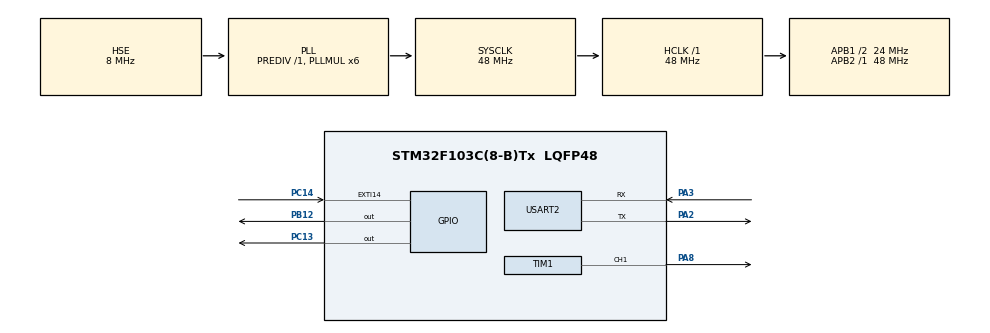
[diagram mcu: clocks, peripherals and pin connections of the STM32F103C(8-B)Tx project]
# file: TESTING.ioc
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Mcu.Family=STM32F1
Mcu.Name=STM32F103C(8-B)Tx
Mcu.Package=LQFP48
NVIC.EXTI15_10_IRQn=true\:0\:0\:false\:false\:true\:true\:true
NVIC.PriorityGroup=NVIC_PRIORITYGROUP_4
NVIC.TIM2_IRQn=true\:0\:0\:false\:false\:true\:true\:true
NVIC.USART2_IRQn=true\:0\:0\:false\:false\:true\:true\:true
PA13.Mode=Serial_Wire
PA13.Signal=SYS_JTMS-SWDIO
PA14.Mode=Serial_Wire
PA14.Signal=SYS_JTCK-SWCLK
PA2.Mode=Asynchronous
PA2.Signal=USART2_TX
PA3.Mode=Asynchronous
PA3.Signal=USART2_RX
PA8.Signal=S_TIM1_CH1
PB12.Signal=GPIO_Output
PC13-TAMPER-RTC.Signal=GPIO_Output
PC14-OSC32_IN.GPIO_ModeDefaultEXTI=GPIO_MODE_IT_FALLING
PC14-OSC32_IN.GPIO_PuPd=GPIO_PULLUP
PC14-OSC32_IN.Signal=GPXTI14
PD0-OSC_IN.Mode=HSE-External-Oscillator
PD0-OSC_IN.Signal=RCC_OSC_IN
PD1-OSC_OUT.Mode=HSE-External-Oscillator
PD1-OSC_OUT.Signal=RCC_OSC_OUT
ProjectManager.HeapSize=0x200
ProjectManager.StackSize=0x400
ProjectManager.TargetToolchain=STM32CubeIDE
RCC.AHBFreq_Value=48000000
RCC.APB1CLKDivider=RCC_HCLK_DIV2
RCC.APB1Freq_Value=24000000
RCC.APB1TimFreq_Value=48000000
RCC.APB2Freq_Value=48000000
RCC.APB2TimFreq_Value=48000000
RCC.HCLKFreq_Value=48000000
RCC.PLLMUL=RCC_PLL_MUL6
RCC.PLLSourceVirtual=RCC_PLLSOURCE_HSE
RCC.SYSCLKFreq_VALUE=48000000
RCC.SYSCLKSource=RCC_SYSCLKSOURCE_PLLCLK
RCC.USBFreq_Value=48000000
SH.S_TIM1_CH1.0=TIM1_CH1,PWM Generation1 CH1
TIM1.AutoReloadPreload=TIM_AUTORELOAD_PRELOAD_ENABLE
TIM1.Channel-PWM\ Generation1\ CH1=TIM_CHANNEL_1
TIM1.Period=99
TIM1.Prescaler=479
TIM2.AutoReloadPreload=TIM_AUTORELOAD_PRELOAD_DISABLE
TIM2.Period=499
TIM2.Prescaler=47999
TIM4.Period=499
TIM4.Prescaler=4799
USART2.VirtualMode=VM_ASYNC
VP_TIM1_VS_ClockSourceINT.Mode=Internal
VP_TIM2_VS_ClockSourceINT.Mode=Internal
VP_TIM4_VS_ClockSourceINT.Mode=Internal
board=custom

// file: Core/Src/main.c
/* USER CODE BEGIN Header */
/**
  ******************************************************************************
  * @file           : main.c
  * @brief          : Main program body
  ******************************************************************************
  * @attention
  *
  * <h2><center>&copy; Copyright (c) 2021 STMicroelectronics.
  * All rights reserved.</center></h2>
  *
  * This software component is licensed by ST under BSD 3-Clause license,
  * the "License"; You may not use this file except in compliance with the
  * License. You may obtain a copy of the License at:
  *                        opensource.org/licenses/BSD-3-Clause
  *
  ******************************************************************************
  */
/* USER CODE END Header */
#include "main.h"
#include "string.h"

/* Private variables ---------------------------------------------oll------------*/
TIM_HandleTypeDef htim1;
TIM_HandleTypeDef htim2;
TIM_HandleTypeDef htim4;

UART_HandleTypeDef huart2;

void SystemClock_Config(void);
static void MX_GPIO_Init(void);
static void MX_TIM2_Init(void);
static void MX_TIM4_Init(void);
static void MX_TIM1_Init(void);
static void MX_USART2_UART_Init(void);

/* USER CODE BEGIN 0 */
//char data[2000];
uint8_t count =0;

/* USER CODE END 0 */

int main(void)
{

  /* MCU Configuration--------------------------------------------------------*/

  /* Reset of all peripherals, Initializes the Flash interface and the Systick. */
  HAL_Init();

  /* Configure the system clock */
  SystemClock_Config();

  /* Initialize all configured peripherals */
  MX_GPIO_Init();
  MX_TIM2_Init();
  MX_TIM4_Init();
  MX_TIM1_Init();
  MX_USART2_UART_Init();
  /* USER CODE BEGIN 2 */
 HAL_TIM_Base_Start_IT(&htim2);
 HAL_TIM_PWM_Start(&htim1, TIM_CHANNEL_1);
 htim1.Instance->CCR1=10;

 char datas[0];
 char data[20]="hello world\n";
 HAL_UART_Receive_IT(&huart2,(uint8_t*)datas, sizeof (datas));
 if (datas[0]=='K'){
	  	  HAL_GPIO_WritePin(GPIOC, GPIO_PIN_13, GPIO_PIN_RESET);
	    }else if(datas[0]=='L'){
	  	   HAL_GPIO_WritePin(GPIOC, GPIO_PIN_13, GPIO_PIN_SET);
	    }
  /* USER CODE END 2 */

  /* Infinite loop */
  /* USER CODE BEGIN WHILE */
  while (1)
  {
	//  HAL_GPIO_WritePin(GPIOC, GPIO_PIN_13, GPIO_PIN_RESET);
	 // HAL_GPIO_TogglePin(GPIOC, GPIO_PIN_13);
	//  HAL_Delay(1000);
    /* USER CODE END WHILE */
	 // HAL_UART_Transmit_IT(&huart2,(uint8_t *)data,sizeof(data) );

  }
}

void SystemClock_Config(void)
{
  RCC_OscInitTypeDef RCC_OscInitStruct = {0};
  RCC_ClkInitTypeDef RCC_ClkInitStruct = {0};

  /** Initializes the RCC Oscillators according to the specified parameters
  * in the RCC_OscInitTypeDef structure.
  */
  RCC_OscInitStruct.OscillatorType = RCC_OSCILLATORTYPE_HSE;
  RCC_OscInitStruct.HSEState = RCC_HSE_ON;
  RCC_OscInitStruct.HSEPredivValue = RCC_HSE_PREDIV_DIV1;
  RCC_OscInitStruct.HSIState = RCC_HSI_ON;
  RCC_OscInitStruct.PLL.PLLState = RCC_PLL_ON;
  RCC_OscInitStruct.PLL.PLLSource = RCC_PLLSOURCE_HSE;
  RCC_OscInitStruct.PLL.PLLMUL = RCC_PLL_MUL6;
  if (HAL_RCC_OscConfig(&RCC_OscInitStruct) != HAL_OK)
  {
    Error_Handler();
  }
  /** Initializes the CPU, AHB and APB buses clocks
  */
  RCC_ClkInitStruct.ClockType = RCC_CLOCKTYPE_HCLK|RCC_CLOCKTYPE_SYSCLK
                              |RCC_CLOCKTYPE_PCLK1|RCC_CLOCKTYPE_PCLK2;
  RCC_ClkInitStruct.SYSCLKSource = RCC_SYSCLKSOURCE_PLLCLK;
  RCC_ClkInitStruct.AHBCLKDivider = RCC_SYSCLK_DIV1;
  RCC_ClkInitStruct.APB1CLKDivider = RCC_HCLK_DIV2;
  RCC_ClkInitStruct.APB2CLKDivider = RCC_HCLK_DIV1;

  if (HAL_RCC_ClockConfig(&RCC_ClkInitStruct, FLASH_LATENCY_1) != HAL_OK)
  {
    Error_Handler();
  }
}

static void MX_TIM1_Init(void)
{

  TIM_ClockConfigTypeDef sClockSourceConfig = {0};
  TIM_MasterConfigTypeDef sMasterConfig = {0};
  TIM_OC_InitTypeDef sConfigOC = {0};
  TIM_BreakDeadTimeConfigTypeDef sBreakDeadTimeConfig = {0};

  htim1.Instance = TIM1;
  htim1.Init.Prescaler = 479;
  htim1.Init.CounterMode = TIM_COUNTERMODE_UP;
  htim1.Init.Period = 99;
  htim1.Init.ClockDivision = TIM_CLOCKDIVISION_DIV1;
  htim1.Init.RepetitionCounter = 0;
  htim1.Init.AutoReloadPreload = TIM_AUTORELOAD_PRELOAD_ENABLE;
  if (HAL_TIM_Base_Init(&htim1) != HAL_OK)
  {
    Error_Handler();
  }
  sClockSourceConfig.ClockSource = TIM_CLOCKSOURCE_INTERNAL;
  if (HAL_TIM_ConfigClockSource(&htim1, &sClockSourceConfig) != HAL_OK)
  {
    Error_Handler();
  }
  if (HAL_TIM_PWM_Init(&htim1) != HAL_OK)
  {
    Error_Handler();
  }
  sMasterConfig.MasterOutputTrigger = TIM_TRGO_RESET;
  sMasterConfig.MasterSlaveMode = TIM_MASTERSLAVEMODE_DISABLE;
  if (HAL_TIMEx_MasterConfigSynchronization(&htim1, &sMasterConfig) != HAL_OK)
  {
    Error_Handler();
  }
  sConfigOC.OCMode = TIM_OCMODE_PWM1;
  sConfigOC.Pulse = 0;
  sConfigOC.OCPolarity = TIM_OCPOLARITY_HIGH;
  sConfigOC.OCNPolarity = TIM_OCNPOLARITY_HIGH;
  sConfigOC.OCFastMode = TIM_OCFAST_DISABLE;
  sConfigOC.OCIdleState = TIM_OCIDLESTATE_RESET;
  sConfigOC.OCNIdleState = TIM_OCNIDLESTATE_RESET;
  if (HAL_TIM_PWM_ConfigChannel(&htim1, &sConfigOC, TIM_CHANNEL_1) != HAL_OK)
  {
    Error_Handler();
  }
  sBreakDeadTimeConfig.OffStateRunMode = TIM_OSSR_DISABLE;
  sBreakDeadTimeConfig.OffStateIDLEMode = TIM_OSSI_DISABLE;
  sBreakDeadTimeConfig.LockLevel = TIM_LOCKLEVEL_OFF;
  sBreakDeadTimeConfig.DeadTime = 0;
  sBreakDeadTimeConfig.BreakState = TIM_BREAK_DISABLE;
  sBreakDeadTimeConfig.BreakPolarity = TIM_BREAKPOLARITY_HIGH;
  sBreakDeadTimeConfig.AutomaticOutput = TIM_AUTOMATICOUTPUT_DISABLE;
  if (HAL_TIMEx_ConfigBreakDeadTime(&htim1, &sBreakDeadTimeConfig) != HAL_OK)
  {
    Error_Handler();
  }
  HAL_TIM_MspPostInit(&htim1);

}

static void MX_TIM2_Init(void)
{

  TIM_ClockConfigTypeDef sClockSourceConfig = {0};
  TIM_MasterConfigTypeDef sMasterConfig = {0};

  htim2.Instance = TIM2;
  htim2.Init.Prescaler = 47999;
  htim2.Init.CounterMode = TIM_COUNTERMODE_UP;
  htim2.Init.Period = 499;
  htim2.Init.ClockDivision = TIM_CLOCKDIVISION_DIV1;
  htim2.Init.AutoReloadPreload = TIM_AUTORELOAD_PRELOAD_DISABLE;
  if (HAL_TIM_Base_Init(&htim2) != HAL_OK)
  {
    Error_Handler();
  }
  sClockSourceConfig.ClockSource = TIM_CLOCKSOURCE_INTERNAL;
  if (HAL_TIM_ConfigClockSource(&htim2, &sClockSourceConfig) != HAL_OK)
  {
    Error_Handler();
  }
  sMasterConfig.MasterOutputTrigger = TIM_TRGO_RESET;
  sMasterConfig.MasterSlaveMode = TIM_MASTERSLAVEMODE_DISABLE;
  if (HAL_TIMEx_MasterConfigSynchronization(&htim2, &sMasterConfig) != HAL_OK)
  {
    Error_Handler();
  }

}

static void MX_TIM4_Init(void)
{

  TIM_ClockConfigTypeDef sClockSourceConfig = {0};
  TIM_MasterConfigTypeDef sMasterConfig = {0};

  htim4.Instance = TIM4;
  htim4.Init.Prescaler = 4799;
  htim4.Init.CounterMode = TIM_COUNTERMODE_UP;
  htim4.Init.Period = 499;
  htim4.Init.ClockDivision = TIM_CLOCKDIVISION_DIV1;
  htim4.Init.AutoReloadPreload = TIM_AUTORELOAD_PRELOAD_DISABLE;
  if (HAL_TIM_Base_Init(&htim4) != HAL_OK)
  {
    Error_Handler();
  }
  sClockSourceConfig.ClockSource = TIM_CLOCKSOURCE_INTERNAL;
  if (HAL_TIM_ConfigClockSource(&htim4, &sClockSourceConfig) != HAL_OK)
  {
    Error_Handler();
  }
  sMasterConfig.MasterOutputTrigger = TIM_TRGO_RESET;
  sMasterConfig.MasterSlaveMode = TIM_MASTERSLAVEMODE_DISABLE;
  if (HAL_TIMEx_MasterConfigSynchronization(&htim4, &sMasterConfig) != HAL_OK)
  {
    Error_Handler();
  }

}

static void MX_USART2_UART_Init(void)
{

  huart2.Instance = USART2;
  huart2.Init.BaudRate = 115200;
  huart2.Init.WordLength = UART_WORDLENGTH_8B;
  huart2.Init.StopBits = UART_STOPBITS_1;
  huart2.Init.Parity = UART_PARITY_NONE;
  huart2.Init.Mode = UART_MODE_TX_RX;
  huart2.Init.HwFlowCtl = UART_HWCONTROL_NONE;
  huart2.Init.OverSampling = UART_OVERSAMPLING_16;
  if (HAL_UART_Init(&huart2) != HAL_OK)
  {
    Error_Handler();
  }

}

static void MX_GPIO_Init(void)
{
  GPIO_InitTypeDef GPIO_InitStruct = {0};

  /* GPIO Ports Clock Enable */
  __HAL_RCC_GPIOC_CLK_ENABLE();
  __HAL_RCC_GPIOD_CLK_ENABLE();
  __HAL_RCC_GPIOA_CLK_ENABLE();
  __HAL_RCC_GPIOB_CLK_ENABLE();

  /*Configure GPIO pin Output Level */
  HAL_GPIO_WritePin(GPIOC, GPIO_PIN_13, GPIO_PIN_RESET);

  /*Configure GPIO pin Output Level */
  HAL_GPIO_WritePin(GPIOB, GPIO_PIN_12, GPIO_PIN_RESET);

  /*Configure GPIO pin : PC13 */
  GPIO_InitStruct.Pin = GPIO_PIN_13;
  GPIO_InitStruct.Mode = GPIO_MODE_OUTPUT_PP;
  GPIO_InitStruct.Pull = GPIO_NOPULL;
  GPIO_InitStruct.Speed = GPIO_SPEED_FREQ_LOW;
  HAL_GPIO_Init(GPIOC, &GPIO_InitStruct);

  /*Configure GPIO pin : PC14 */
  GPIO_InitStruct.Pin = GPIO_PIN_14;
  GPIO_InitStruct.Mode = GPIO_MODE_IT_FALLING;
  GPIO_InitStruct.Pull = GPIO_PULLUP;
  HAL_GPIO_Init(GPIOC, &GPIO_InitStruct);

  /*Configure GPIO pin : PB12 */
  GPIO_InitStruct.Pin = GPIO_PIN_12;
  GPIO_InitStruct.Mode = GPIO_MODE_OUTPUT_PP;
  GPIO_InitStruct.Pull = GPIO_NOPULL;
  GPIO_InitStruct.Speed = GPIO_SPEED_FREQ_LOW;
  HAL_GPIO_Init(GPIOB, &GPIO_InitStruct);

  /* EXTI interrupt init*/
  HAL_NVIC_SetPriority(EXTI15_10_IRQn, 0, 0);
  HAL_NVIC_EnableIRQ(EXTI15_10_IRQn);

}

/* USER CODE BEGIN 4 */
void HAL_GPIO_EXTI_Callback(uint16_t GPIO_Pin){
	if (GPIO_Pin==GPIO_PIN_14){
		HAL_GPIO_TogglePin(GPIOB, GPIO_PIN_13);
	}else{
		__NOP();
	}
}
void HAL_TIM_PeriodElapsedCallback(TIM_HandleTypeDef *htim) {
// This callback is automatically called by the HAL on the UEV event
	HAL_GPIO_TogglePin(GPIOB, GPIO_PIN_12);
}
void HAL_UART_TxCpltCallback(UART_HandleTypeDef *huart)
{
 //  HAL_UART_Transmit_IT(&huart2, data, sizeof (data));
}
void HAL_UART_RxCpltCallback(UART_HandleTypeDef *huart)
{

}
/* USER CODE END 4 */

void Error_Handler(void)
{
  __disable_irq();
  while (1)
  {
  }
}

/************************ (C) COPYRIGHT STMicroelectronics *****END OF FILE****/
